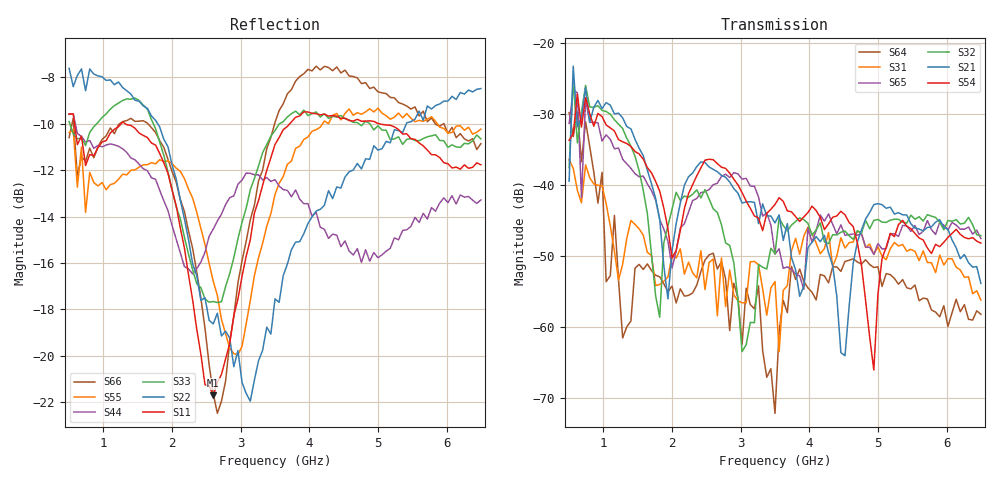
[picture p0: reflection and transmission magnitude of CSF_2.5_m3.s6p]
!Keysight Technologies,M9804A,MY58100912,A.14.10.03
!Date: Thursday, April 27, 2023 10:28:33
!Correction: S11(C  6-Port  )
!S12(C  6-Port  )
!S13(C  6-Port  )
!S14(C  6-Port  )
!S15(C  6-Port  )
!S16(C  6-Port  )
!S21(C  6-Port  )
!S22(C  6-Port  )
!S23(C  6-Port  )
!S24(C  6-Port  )
!S25(C  6-Port  )
!S26(C  6-Port  )
!S31(C  6-Port  )
!S32(C  6-Port  )
!S33(C  6-Port  )
!S34(C  6-Port  )
!S35(C  6-Port  )
!S36(C  6-Port  )
!S41(C  6-Port  )
!S42(C  6-Port  )
!S43(C  6-Port  )
!S44(C  6-Port  )
!S45(C  6-Port  )
!S46(C  6-Port  )
!S51(C  6-Port  )
!S52(C  6-Port  )
!S53(C  6-Port  )
!S54(C  6-Port  )
!S55(C  6-Port  )
!S56(C  6-Port  )
!S61(C  6-Port  )
!S62(C  6-Port  )
!S63(C  6-Port  )
!S64(C  6-Port  )
!S65(C  6-Port  )
!S66(C  6-Port  )
!S6P File: Measurement: :
# Hz S  RI  R 50
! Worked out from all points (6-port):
!   101 points, 500 MHz to 6.5 GHz, reference 50 ohm
!   strongest paths, dB at 500 MHz, 2 GHz, 3.5 GHz, 5 GHz, 6.5 GHz:
!     S54: -33.7, -50.3, -42.7, -55.4, -48.2
!     S21: -39.4, -49.2, -45.3, -42.6, -53.9
!     S32: -37.5, -43.4, -49.7, -44.8, -47.1
!     S65: -31.3, -51.7, -49.7, -48.2, -47.5
!     S31: -36.4, -49.9, -53.6, -48.7, -56.2
!     S64: -29.8, -54.2, -72.2, -51.5, -58.2
!   lowest |S11| = -21.7 dB at 2.6 GHz (marker M1), VSWR 1.18, Z = 42.7 + j2.09 ohm
!   |S11| at or under -10 dB: 578.9 MHz to 1.259 GHz (680.6 MHz wide, 74 % of centre); 1.316 GHz to 3.717 GHz (2.401 GHz wide, 95.4 % of centre); 5.011 GHz to end of sweep
